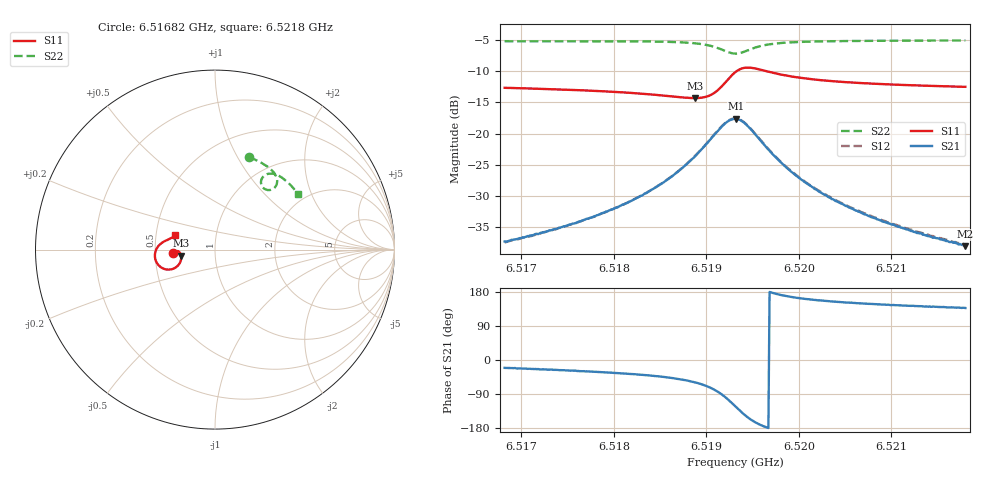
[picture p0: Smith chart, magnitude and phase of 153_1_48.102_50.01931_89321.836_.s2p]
#  HZ  S  RI  R  50.00
! Rohde & Schwarz Vector Network Analyzer
! Rohde-Schwarz,ZNB20-2Port,1311601062101988,3.16
! Created: UTC 12/23/2023, 3:49:59 AM
! freq[Hz]  re:S11  im:S11  re:S21  im:S21  re:S12  im:S12  re:S22  im:S22
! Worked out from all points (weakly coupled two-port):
!   401 points, 6.51682 GHz to 6.5218 GHz, reference 50 ohm
!   highest |S21| = -17.64 dB at 6.519322 GHz (marker M1); lowest = -38.0 dB at 6.5218 GHz (marker M2)
!   lowest |S11| = -14.3 dB at 6.518874 GHz (marker M3), VSWR 1.48, Z = 34 - j2.43 ohm
!   |S11| at or under -10 dB: start of sweep to 6.519329 GHz; 6.519646 GHz to end of sweep
!   |S22| runs from -7.2 to -5.1 dB; largest |S21 - S12| = 0.0041
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6.51682e9  -0.2315 -0.0204  0.0128 -0.00485  0.0127 -0.00432  0.1906 0.5137
6.517206e9  -0.2277 -0.0145  0.0146 -0.00669  0.0146 -0.00602  0.2191 0.5025
6.5176542e9  -0.2218 -0.00887  0.0175 -0.00984  0.0177 -0.00926  0.2524 0.487
6.5181397e9  -0.2126 -0.00609  0.0224 -0.0163  0.0231 -0.0156  0.2888 0.4649
6.5184883e9  -0.2027 -0.00983  0.028 -0.0264  0.0289 -0.0256  0.3156 0.443
6.5187124e9  -0.1946 -0.0193  0.0322 -0.0393  0.0338 -0.0385  0.333 0.4226
6.5188743e9  -0.189 -0.0344  0.034 -0.0559  0.0359 -0.0552  0.3435 0.4012
6.5189863e9  -0.1888 -0.0529  0.031 -0.0739  0.0335 -0.0736  0.3466 0.3807
6.5190735e9  -0.1953 -0.0733  0.0219 -0.0927  0.0249 -0.0926  0.3425 0.3608
6.5192104e9  -0.2356 -0.1078  -0.0195 -0.1201  -0.016 -0.1216  0.3121 0.3331
6.51931e9  -0.2905 -0.1045  -0.0686 -0.1117  -0.0658 -0.1147  0.2746 0.3394
6.5193225e9  -0.2972 -0.1009  -0.0742 -0.1082  -0.0714 -0.111  0.2705 0.3426
6.5193723e9  -0.3192 -0.0813  -0.0916 -0.0885  -0.0896 -0.0919  0.2593 0.3588
6.5194345e9  -0.3332 -0.0509  -0.1006 -0.0607  -0.0996 -0.0641  0.2565 0.3814
6.5195341e9  -0.3312 -0.00889  -0.0944 -0.0252  -0.0943 -0.0281  0.2702 0.4081
6.5196462e9  -0.3156 0.0195  -0.0781 -0.00355  -0.0787 -0.00583  0.2927 0.4212
6.5198952e9  -0.285 0.0445  -0.05 0.0112  -0.0509 0.00986  0.3324 0.4206
6.5201442e9  -0.2667 0.0533  -0.0349 0.0132  -0.0358 0.0123  0.3599 0.4091
6.5205177e9  -0.2504 0.0605  -0.0232 0.0123  -0.0238 0.0119  0.3898 0.3883
6.5209783e9  -0.2381 0.0673  -0.0157 0.0109  -0.0163 0.0105  0.4188 0.3613
6.521439e9  -0.229 0.0739  -0.0114 0.0094  -0.012 0.00923  0.4439 0.3334
6.5218e9  -0.2231 0.0788  -0.00921 0.00853  -0.00986 0.00852  0.4611 0.311
